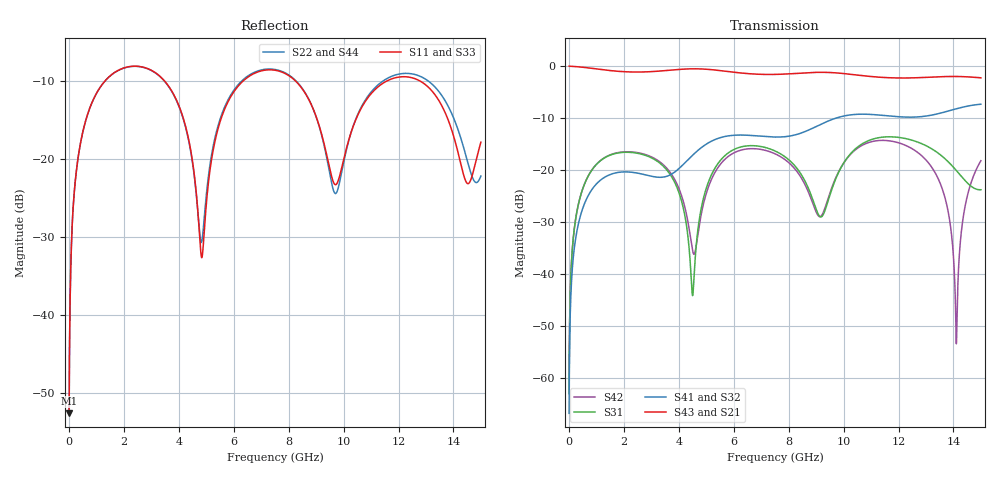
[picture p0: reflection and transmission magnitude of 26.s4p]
! Created with skrf 1.8.0 (http://scikit-rf.org).
# GHz S RI R 50.0
!freq ReS11 ImS11 ReS12 ImS12 ReS13 ImS13
! ReS14 ImS14
! ReS21 ImS21 ReS22 ImS22 ReS23 ImS23
! ReS24 ImS24
! ReS31 ImS31 ReS32 ImS32 ReS33 ImS33
! ReS34 ImS34
! ReS41 ImS41 ReS42 ImS42 ReS43 ImS43
! ReS44 ImS44
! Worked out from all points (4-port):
!   2499 points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, 5 MHz to 15 GHz, reference 50 ohm
!   strongest paths, dB at 5 MHz, 3.476 GHz, 7.19 GHz, 11.1 GHz, 15 GHz:
!     S43: 0.0, -0.9, -1.6, -2.1, -2.3
!     S21: 0.0, -0.9, -1.6, -2.1, -2.3
!     S41: -66.9, -21.3, -13.6, -9.3, -7.3
!     S32: -66.9, -21.4, -13.6, -9.3, -7.3
!     S31: -63.1, -19.5, -15.7, -14.0, -23.8
!     S42: -63.1, -19.2, -16.3, -14.5, -18.2
!   lowest |S11| = -52.6 dB at 5 MHz (marker M1), VSWR 1.00, Z = 50.2 + j0.142 ohm
!   |S11| at or under -10 dB: 3.495 GHz to 6.324 GHz (2.828 GHz wide, 57.6 % of centre); 8.267 GHz to 11.54 GHz (3.277 GHz wide, 33.1 % of centre); 12.81 GHz to end of sweep (the widest 3 of 4)
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0.005  0.00186 0.00142  0.9981 -0.00361  9.25e-05 0.000696  -9.01e-05 -0.000443
       0.9981 -0.00361  0.00186 0.00142  -9.01e-05 -0.000443  9.25e-05 0.000696
       9.25e-05 0.000696  -9.01e-05 -0.000443  0.00186 0.00142  0.9981 -0.00361
       -9.01e-05 -0.000443  9.25e-05 0.000696  0.9981 -0.00361  0.00186 0.00142
1.469362  0.2942 0.1701  0.4998 -0.757  0.1273 0.0526  -0.0895 0.00149
          0.4998 -0.757  0.2933 0.1708  -0.0895 0.00144  0.1297 0.0489
          0.1273 0.0526  -0.0895 0.00144  0.2942 0.1701  0.4997 -0.757
          -0.0895 0.00149  0.1297 0.0489  0.4997 -0.757  0.2933 0.1708
4.495623  0.0425 -0.0881  -0.8998 -0.2764  0.00618 -0.000598  -0.0358 0.1333
          -0.8998 -0.2764  0.047 -0.0833  -0.0363 0.1331  -0.0151 -0.0079
          0.00618 -0.000598  -0.0363 0.1331  0.0432 -0.0884  -0.8997 -0.2764
          -0.0358 0.1333  -0.0151 -0.0079  -0.8997 -0.2764  0.0466 -0.0838
7.390579  0.3751 -0.0098  -0.0399 0.8294  0.13 -0.0875  0.2014 -0.0502
          -0.0399 0.8294  0.3791 -0.0181  0.2009 -0.0485  0.1275 -0.0734
          0.13 -0.0875  0.2009 -0.0485  0.3748 -0.0131  -0.0396 0.8296
          0.2014 -0.0502  0.1275 -0.0734  -0.0396 0.8296  0.3783 -0.0152
12.76157  0.3081 -0.0856  -0.1223 -0.7645  0.074 -0.167  -0.3078 0.1036
          -0.1223 -0.7645  0.3314 -0.0878  -0.3088 0.1004  0.0883 -0.1125
          0.074 -0.167  -0.3088 0.1004  0.3097 -0.0839  -0.1234 -0.7639
          -0.3078 0.1036  0.0883 -0.1125  -0.1234 -0.7639  0.3317 -0.0909
14.10588  0.0968 -0.0743  -0.68 -0.4104  -0.0861 -0.0483  -0.1902 0.3381
          -0.68 -0.4104  0.1186 -0.1165  -0.1941 0.3359  0.00193 -0.000857
          -0.0861 -0.0483  -0.1941 0.3359  0.0971 -0.0741  -0.6808 -0.4088
          -0.1902 0.3381  0.00193 -0.000857  -0.6808 -0.4088  0.1179 -0.1176
15  0.0925 0.0896  -0.7697 0.0448  -0.0172 0.062  0.0446 0.427
    -0.7697 0.0448  0.0748 0.0224  0.0396 0.4274  0.1101 0.0539
    -0.0172 0.062  0.0396 0.4274  0.0923 0.0908  -0.7694 0.0471
    0.0446 0.427  0.1101 0.0539  -0.7694 0.0471  0.075 0.0223
